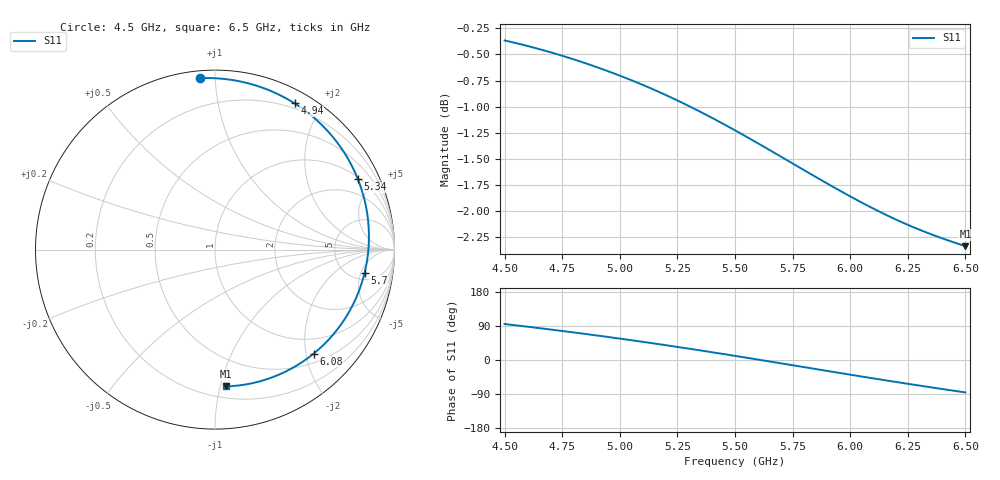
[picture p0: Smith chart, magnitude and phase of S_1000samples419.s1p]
! TOUCHSTONE file generated by CST MICROWAVE STUDIO
! Date and time: Fri Oct 28 02:54:58 2022
! Project name: L.cst
! Parameters = {Di=1.27; Epsilon_r=1.56; InnerDiameter=1.27; Length=2; Lf=10; Lg=60; OuterConductorThickness=0.2921; OuterDiameter=3.6; Wf=3; Wp=41.2; de=1.5; df=6.8; g=0.8; gx=2.08083; gy=4.25904; h=2.34; hf=1.524; px=9.0392; py=10.9514; w=9.7; wx=6.95838; wy=6.69236}
! Header version: 2018
! Port assignment regex: !\s*Touchstone port\s*([0-9]+)\s*=\s*(CST MWS port|CST DS port)\s*([0-9]+|Zmin|Zmax)\s*\(\"(.*)\"\)(\s*mode\s*([0-9]+))?.*
! Touchstone port assignment:
! Touchstone port 1 = CST MWS port 1 ("")
# GHz S DB R 50
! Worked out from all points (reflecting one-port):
!   101 points, 4.5 GHz to 6.5 GHz, reference 50 ohm
!   lowest |S11| = -2.3 dB at 6.5 GHz (marker M1), VSWR 7.49, Z = 14.2 - j52 ohm
!   phase of S11 starts at 95 deg and turns -181 deg over the sweep
!   S11 on the Smith chart (normalised r, x): 4.5 GHz: 0.04, +0.92; 4.94 GHz: 0.14, +1.67; 5.34 GHz: 1.09, +4.02; 5.7 GHz: 6.49, -5.82; 6.08 GHz: 0.67, -2.15; 6.5 GHz: 0.28, -1.04
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4.5  -0.37 95.0
4.58  -0.41 89.3
4.64  -0.44 84.9
4.7  -0.48 80.4
4.76  -0.52 75.8
4.86  -0.59 67.9
4.94  -0.65 61.5
5  -0.70 56.5
5.06  -0.75 51.4
5.12  -0.81 46.1
5.2  -0.89 39.0
5.26  -0.95 33.6
5.34  -1.04 26.2
5.42  -1.13 18.6
5.5  -1.23 10.9
5.6  -1.35 1.1
5.7  -1.48 -8.8
5.76  -1.56 -14.8
5.82  -1.63 -20.8
5.88  -1.71 -26.8
6  -1.86 -38.7
6.08  -1.95 -46.5
6.18  -2.06 -56.2
6.26  -2.14 -63.7
6.32  -2.19 -69.3
6.38  -2.24 -74.8
6.44  -2.29 -80.2
6.5  -2.33 -85.5
